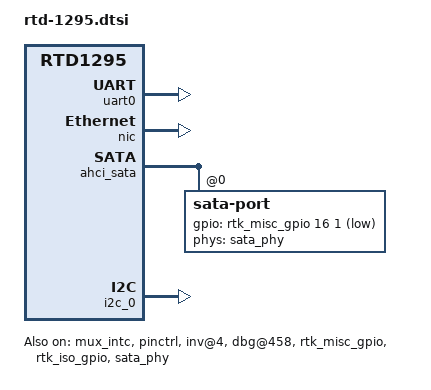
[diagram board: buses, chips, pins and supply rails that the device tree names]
#include <dt-bindings/clock/rtd1295-clk.h>
#include <dt-bindings/reset/rtd1295-reset.h>

/ {
	compatible = "realtek,rtd1295";
	interrupt-parent = <&gic>;
	#address-cells = <1>;
	#size-cells = <1>;

    aliases {
		serial0 = &uart0;
        i2c0 = &i2c_0;
	};
    
	cpus {
		#address-cells = <1>;
		#size-cells = <0>;

		A53_0: cpu@0 {
			device_type = "cpu";
			compatible = "arm,cortex-a53", "arm,armv8";
			reg = <0x0>;
			enable-method = "spin-table";
			cpu-release-addr = <0x0 0x9801AA44>;
			next-level-cache = <&a53_l2>;
		};

		A53_1: cpu@1 {
			device_type = "cpu";
			compatible = "arm,cortex-a53", "arm,armv8";
			reg = <0x1>;
			enable-method = "spin-table";
			cpu-release-addr = <0x0 0x9801AA44>;
			next-level-cache = <&a53_l2>;
		};

		A53_2: cpu@2 {
			device_type = "cpu";
			compatible = "arm,cortex-a53", "arm,armv8";
			reg = <0x02>;
			enable-method = "spin-table";
			cpu-release-addr = <0x0 0x9801AA44>;
			next-level-cache = <&a53_l2>;
		};

		A53_3: cpu@3 {
			device_type = "cpu";
			compatible = "arm,cortex-a53", "arm,armv8";
			reg = <0x03>;
			enable-method = "spin-table";
			cpu-release-addr = <0x0 0x9801AA44>;
			next-level-cache = <&a53_l2>;
		};

		a53_l2: l2-cache {
			compatible = "cache";
		};
	};

	soc@0 {
		#address-cells = <1>;
		#size-cells = <1>;
		reg = <0x98000000 0x70000>;
		compatible = "simple-bus";
		device_type = "soc";
		ranges;
	};

	arch_timer {
		compatible = "arm,armv8-timer";
		interrupts = <1 13 0xf08>,
			<1 14 0xf08>,
			<1 11 0xf08>,
			<1 10 0xf08>;
		clock-frequency = <27000000>;
	};

	gic: interrupt-controller@FF010000 {
		compatible = "arm,cortex-a15-gic";
		#interrupt-cells = <3>;
		interrupt-controller;
		reg = <0xFF011000 0x1000>,
			<0xFF012000 0x1000>;
	};

    uart0: serial0@98007800 {
		compatible = "snps,dw-apb-uart";
        interrupt-parent = <&mux_intc>;
		reg = <0x98007800 0x400>,
			<0x98007000 0x100>;
		interrupts-st-mask = <0x4>;
		interrupts = <1 2>;
        pinctrl-names = "default";
		pinctrl-0 = <&uart0_pins>;
		reg-shift = <2>;
		reg-io-width = <4>;
        clock-names = "apb_pclk";
		clocks = <&ic RTD1295_ISO_CLK_EN_UR0>;
		clock-frequency = <27000000>; /* This value must be override by the board. */
		status = "okay";
	};

    nic: gmac@98016000 {
		compatible = "Realtek,r8168";
		reg = <0x98016000 0x1000>,
			<0x98007000 0x1000>;
		interrupts = <0 22 4>;
		pinctrl-names = "default";
		pinctrl-0 = <&rgmii0_pins>,
			<&etn_led_pins>;
		rtl-config = <1>;
		mac-version = <42>; /* RTL_GIGA_MAC_VER_42 */
		rtl-features = <2>; /* BIT(2) GMii */
		output-mode = <0>; /* 0:embedded PHY, 1:RGMII to MAC, 2:RGMII to PHY */
		rgmii-voltage = <1>; /* 1:1.8V, 2: 2.5V, 3:3.3V */
		rgmii-tx-delay = <0>; /* 0: 0ns, 1: 2ns */
		rgmii-rx-delay = <0>; /* 0: 0ns, 1: 2ns */
		ext-phy-id = <1>; /* 0 ~ 31, only valid when output-mode = 2 */
		eee = <1>; /* KDP-1095: Enable Energy efficient Ethernet */ 
		clocks = <&ic RTD1295_ISO_CLK_EN_ETN_250M>,
			<&ic RTD1295_ISO_CLK_EN_ETN_SYS>;
		clock-names = "etn_250m",
			"etn_sys";
		resets = <&ic RTD1295_ISO_RSTN_GMAC>,
			<&ic RTD1295_ISO_RSTN_GPHY>;
		reset-names = "gmac",
			"gphy";
		status = "okay";
	};

    mux_intc: intc@9801B000 {
		compatible = "Realtek,rtk-irq-mux";
		Realtek,mux-nr = <2>;
		#interrupt-cells = <2>;
		interrupt-controller;
		reg = <0x9801B000 0x100>, /* MISC_TOP MISC_ISO */
			<0x98007000 0x100>;
		interrupts = <0 40 4>, <0 41 4>;
		intr-status = <0xc>, <0x0>;
		intr-en = <0x80>, <0x40>;
		status = "okay";
	};

    pinctrl: pinctrl@9801A000 {
		compatible = "realtek,rtk129x-pinctrl";
		reg = <0x9801A000 0x97c>,
			<0x9804d000 0x010>,
			<0x98012000 0x640>,
			<0x98007000 0x340>;
		#gpio-range-cells = <3>;
		pinctrl-names = "default";
		pinctrl-0 =
			<&spi_pins_loc_gpio>;
		status = "okay";

        spi_pins_loc_gpio: spi_pins_loc_gpio {
			realtek,pins = "gpio_0",
				"gpio_1",
				"gpio_2",
				"gpio_3",
				"sf_en";
			realtek,function = "gpio";
		};

        uart0_pins: uart0_pins {
			realtek,pins = "ur0_rx",
				"ur0_tx";
			realtek,function = "uart0";
		};

        i2c_pins_0: i2c_pins_0 {
			realtek,pins = "i2c_scl_0",
				"i2c_sda_0";
			realtek,function = "i2c0";
		};

        rgmii0_pins: rgmii0_pins {
			realtek,pins = "rgmii0_txc",
				"rgmii0_tx_ctl",
				"rgmii0_txd_0",
				"rgmii0_txd_1",
				"rgmii0_txd_2",
				"rgmii0_txd_3",
				"rgmii0_rxc",
				"rgmii0_rx_ctl",
				"rgmii0_rxd_0",
				"rgmii0_rxd_1",
				"rgmii0_rxd_2",
				"rgmii0_rxd_3",
				"rgmii0_mdio",
				"rgmii0_mdc";
			realtek,function = "rgmii";
		};

        etn_led_pins: etn_led_pins {
			realtek,pins = "etn_led_link",
				"etn_led_rxtx";
			realtek,function = "etn_led";
		};
	};

    iso: iso@98007000 {
		reg = <0x98007000 0x1000>;
		compatible = "syscon", "simple-mfd";
		ranges = <0x0 0x98007000 0x1000>;
		#address-cells = <1>;
		#size-cells = <1>;
	};

    sb2: sb2@9801a000 {
		compatible = "realtek,rtd1295-sysbrg2", "syscon", "simple-mfd";
		reg = <0x9801a000 0x1000>;
		ranges = <0x0 0x9801a000 0x1000>;
		#address-cells = <1>;
		#size-cells = <1>;
	};

	rtk_misc_gpio: rtk_misc_gpio@9801b100 {
		compatible = "realtek,rtk-misc-gpio-irq-mux";
		gpio-controller;
		#gpio-cells = <3>; /*must be the same with gpiochip.of_gpio_n_cells*/
		Realtek,gpio_base = <0>;
		Realtek,gpio_numbers = <101>;
		interrupt-parent = <&mux_intc>;
		#interrupt-cells = <1>;
		interrupt-controller;
		interrupts = <0 19>, <0 20>; /*GPIOA_INT   GPIODA_INT*/
		reg = <0x9801b000 0x100>,
			<0x9801b100 0x100>; /* MISC_SYS MISC_GPIO*/
		gpio-ranges = <&pinctrl 0 0 101>;
		status = "okay";
	};

	rtk_iso_gpio: rtk_iso_gpio@98007100 {
		compatible = "realtek,rtk-iso-gpio-irq-mux";
		gpio-controller;
		#gpio-cells = <3>;
		Realtek,gpio_base = <101>;
		Realtek,gpio_numbers = <35>;
		interrupt-parent = <&mux_intc>;
		#interrupt-cells = <1>;
		interrupt-controller;
		interrupts = <1 19>, <1 20>; /*GPIOA_INT   GPIODA_INT*/
		reg = <0x98007000 0x100>,
			<0x98007100 0x100>; /* ISO_SYS ISO_GPIO*/
		gpio-ranges = <&pinctrl 0 101 35>;
		status = "okay";
	};

    sata_phy: sata_phy@9803FF60 {
        compatible = "Realtek,rtk-sata-phy";
		reg = <0x9803FF00 0x100>, <0x9801a980 0x10>;
		#address-cells = <1>;
		#size-cells = <0>;
		#phy-cells = <1>;
		status = "okay";
		sata-phy@0 {
			reg = <0>;
			resets = <&cc RTD1295_CRT_RSTN_SATA_PHY_POW_0>;
			reset-names = "rstn_sata_phy_pow_0";
			spread-spectrum = <0>;
			phy-param = <0x00001111>, <0x00005111>, <0x00009111>,
					<0x336a0511>, <0x336a4511>, <0x336a8511>,
					<0xE0700111>, <0xE05C4111>, <0xE04A8111>,
					<0x00150611>, <0x00154611>, <0x00158611>,
					<0xC6000A11>, <0xC6004A11>, <0xC6008A11>,
					<0x70000211>, <0x70004211>, <0x70008211>,
					<0xC6600A11>, <0xC6604A11>, <0xC6608A11>,
					<0x20041911>, <0x20045911>, <0x20049911>,
					<0x94aa2011>, <0x94aa6011>, <0x94aaa011>,
					<0x17171511>, <0x17175511>, <0x17179511>,
					<0x07701611>, <0x07705611>, <0x07709611>,
					<0x40002a11>, <0x40006a11>, <0x4000aa11>,
					<0x27710311>, <0x27684311>, <0x27648311>,
					<0x29001011>, <0x29005011>, <0x29009011>,
					<0x40000C11>, <0x40004C11>, <0x40008C11>,
					<0x00271711>, <0x00275711>, <0x00279711>;
			/delete-property/ phy-param;
			tx-driving = <2>;

			tx-driving-tbl = // user can define tx driving here //
					<0x94a72011>, <0x94a76011>, <0x94a7a011>,
					<0x587a2111>, <0x587a6111>, <0x587aa111>;
			/delete-property/ tx-driving-tbl;
		};
	};

	ahci_sata: sata@9803F000 {
        compatible = "Realtek,ahci-sata";
		reg = <0x9803F000 0x1000>;
		interrupts = <0 28 4>;
		status = "okay";
		#address-cells = <1>;
		#size-cells = <0>;
		clocks = <&cc RTD1295_CRT_CLK_EN_SATA_0>, <&cc RTD1295_CRT_CLK_EN_SATA_ALIVE_0>;
		sata-port@0 {
			reg = <0>;
			phys = <&sata_phy 0>;
			resets = <&cc RTD1295_CRT_RSTN_SATA_0>,
				 <&cc RTD1295_CRT_RSTN_SATA_PHY_0>;
			reset-names = "rstn_sata_0",
				      "rstn_sata_phy_0";
			gpios = <&rtk_misc_gpio 16 1 1>;
		};
	};

    crt: crt@98000000 {
		reg = <0x98000000 0x1000>;
		compatible = "realtek,rtd1295-crt", "syscon", "simple-mfd";
		ranges = <0x0 0x98000000 0x1000>;
		#address-cells = <1>;
		#size-cells = <1>;
	};

    i2c_0: i2c@0x98007D00 {
		compatible = "realtek,rtk-i2c";
		reg = <0x98007D00 0x100>,
			<0x98007000 0x100>;
		interrupt-parent = <&mux_intc>;
		interrupts = <1 8>;
		pinctrl-names = "default";
		pinctrl-0 = <&i2c_pins_0>;
		i2c-num = <0>;
		status = "okay";
		#address-cells = <1>;
		#size-cells = <0>;
		clocks = <&ic RTD1295_ISO_CLK_EN_I2C0>;
		resets = <&ic RTD1295_ISO_RSTN_I2C_0>;
	};
};

&crt {
	cc: clock-controller {
		compatible = "realtek,rtd1295-crt-clk";
		#clock-cells = <1>;
		#reset-cells = <1>;
		realtek,sb2-lock = <&sb2_lock0>;
	};
};

&iso {

	ic: clock-controller {
		compatible = "realtek,rtd1295-iso-clk";
		#clock-cells = <1>;
		#reset-cells = <1>;
	};

	reboot-mode@640 {
		compatible = "realtek,reboot-mode";
		reg = <0x640 0x4>;
		status = "okay";
	};

	reboot@680 {
		compatible = "realtek,reboot";
		reg = <0x680 0x48>;
		rst-oe = <0>;
		rst-oe-for-init = <0>;
		status = "okay";
	};
};

&sb2 {
	sb2_lock0: sb2-lock@0 {
		compatible = "realtek,sb2-sem";
		reg = <0x0 0x4>;
	};

	inv@4 {
		compatible = "realtek,sysbrg2-inv";
		reg = <0x4 0x10>;
		interrupts = <0 36 4>;
		status = "okay";
	};

	dbg@458 {
		compatible = "realtek,sysbrg2-dbg";
		reg = <0x458 0x8c>;
		interrupts = <0 36 4>;
		status = "okay";
	};

	sb2_lock1: sb2-lock@620 {
		compatible = "realtek,sb2-sem";
		reg = <0x620 0x4>;
	};

	sb2_lock2: sb2-lock@624 {
		compatible = "realtek,sb2-sem";
		reg = <0x624 0x4>;
	};

	sb2_lock3: sb2-lock@628 {
		compatible = "realtek,sb2-sem";
		reg = <0x628 0x4>;
	};

	sb2_lock4: sb2-lock@62c {
		compatible = "realtek,sb2-sem";
		reg = <0x62c 0x4>;
	};

	sb2_lock5: sb2-lock@630 {
		compatible = "realtek,sb2-sem";
		reg = <0x630 0x4>;
	};

	sb2_lock6: sb2-lock@634 {
		compatible = "realtek,sb2-sem";
		reg = <0x634 0x4>;
	};

	sb2_lock7: sb2-lock@638 {
		compatible = "realtek,sb2-sem";
		reg = <0x638 0x4>;
	};

	sb2_lock_avlog: sb2_lock8: sb2-lock@63c {
		compatible = "realtek,sb2-sem", "realtek,sb2-sem-avlog";
		reg = <0x63c 0x4>;
	};
};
